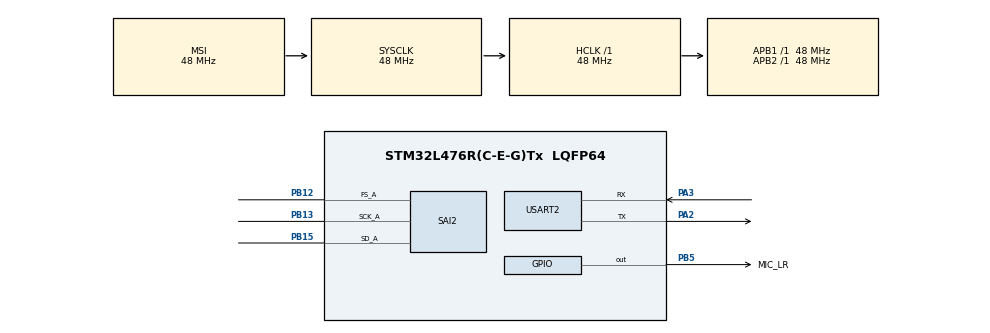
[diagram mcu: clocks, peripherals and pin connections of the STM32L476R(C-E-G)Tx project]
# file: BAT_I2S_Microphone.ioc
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Dma.Request0=SAI2_A
Dma.Request1=USART2_TX
Dma.SAI2_A.0.Direction=DMA_PERIPH_TO_MEMORY
Dma.SAI2_A.0.Instance=DMA1_Channel6
Dma.SAI2_A.0.MemDataAlignment=DMA_MDATAALIGN_WORD
Dma.SAI2_A.0.MemInc=DMA_MINC_ENABLE
Dma.SAI2_A.0.Mode=DMA_NORMAL
Dma.SAI2_A.0.PeriphDataAlignment=DMA_PDATAALIGN_WORD
Dma.SAI2_A.0.PeriphInc=DMA_PINC_DISABLE
Dma.SAI2_A.0.Priority=DMA_PRIORITY_LOW
Dma.USART2_TX.1.Direction=DMA_MEMORY_TO_PERIPH
Dma.USART2_TX.1.Instance=DMA1_Channel7
Dma.USART2_TX.1.MemDataAlignment=DMA_MDATAALIGN_BYTE
Dma.USART2_TX.1.MemInc=DMA_MINC_ENABLE
Dma.USART2_TX.1.Mode=DMA_NORMAL
Dma.USART2_TX.1.PeriphDataAlignment=DMA_PDATAALIGN_BYTE
Dma.USART2_TX.1.PeriphInc=DMA_PINC_DISABLE
Dma.USART2_TX.1.Priority=DMA_PRIORITY_LOW
Mcu.Family=STM32L4
Mcu.Name=STM32L476R(C-E-G)Tx
Mcu.Package=LQFP64
NVIC.DMA1_Channel6_IRQn=true\:0\:0\:false\:false\:true\:false\:true
NVIC.DMA1_Channel7_IRQn=true\:0\:0\:false\:false\:true\:false\:true
NVIC.PriorityGroup=NVIC_PRIORITYGROUP_4
NVIC.SAI2_IRQn=true\:0\:0\:false\:false\:true\:true\:true
NVIC.TIM6_DAC_IRQn=true\:0\:0\:false\:false\:true\:true\:true
NVIC.USART2_IRQn=true\:0\:0\:false\:false\:true\:true\:true
PA13\ (JTMS-SWDIO).Mode=Serial_Wire
PA13\ (JTMS-SWDIO).Signal=SYS_JTMS-SWDIO
PA14\ (JTCK-SWCLK).Mode=Serial_Wire
PA14\ (JTCK-SWCLK).Signal=SYS_JTCK-SWCLK
PA2.Mode=Asynchronous
PA2.Signal=USART2_TX
PA3.Mode=Asynchronous
PA3.Signal=USART2_RX
PB12.Mode=SAI_A_Master
PB12.Signal=SAI2_FS_A
PB13.Mode=SAI_A_Master
PB13.Signal=SAI2_SCK_A
PB15.GPIO_PuPd=GPIO_PULLDOWN
PB15.Mode=SAI_A_Master
PB15.Signal=SAI2_SD_A
PB5.GPIO_Label=MIC_LR
PB5.GPIO_ModeDefaultOutputPP=GPIO_MODE_OUTPUT_PP
PB5.PinState=GPIO_PIN_RESET
PB5.Signal=GPIO_Output
ProjectManager.HeapSize=0x200
ProjectManager.StackSize=0x400
ProjectManager.TargetToolchain=STM32CubeIDE
RCC.ADCFreq_Value=128000000
RCC.AHBFreq_Value=48000000
RCC.APB1Freq_Value=48000000
RCC.APB1TimFreq_Value=48000000
RCC.APB2Freq_Value=48000000
RCC.APB2TimFreq_Value=48000000
RCC.CortexFreq_Value=48000000
RCC.HCLKFreq_Value=48000000
RCC.HSE_VALUE=8000000
RCC.HSI_VALUE=16000000
RCC.LSE_VALUE=32768
RCC.MSIClockRange=RCC_MSIRANGE_11
RCC.MSI_VALUE=48000000
RCC.PLLSAI1N=16
RCC.PLLSourceVirtual=RCC_PLLSOURCE_HSI
RCC.SYSCLKFreq_VALUE=48000000
RCC.USBFreq_Value=128000000
RCC.VCOOutputFreq_Value=128000000
SAI2.AudioFrequency-SAI_A_Master=SAI_AUDIO_FREQUENCY_32K
SAI2.AudioMode-SAI_A_Master=SAI_MODEMASTER_RX
SAI2.BasicDataSize-SAI_A_Master=SAI_PROTOCOL_DATASIZE_24BIT
SAI2.BasicProtocol-SAI_A_Master=SAI_I2S_STANDARD
SAI2.CompandingMode-SAI_A_Master=SAI_NOCOMPANDING
SAI2.ErrorAudioFreq-SAI_A_Master=11.6 %
SAI2.FIFOThreshold-SAI_A_Master=SAI_FIFOTHRESHOLD_FULL
SAI2.InitProtocol-SAI_A_Master=Enable
SAI2.Instance-SAI_A_Master=SAI$Index_Block_A
SAI2.MClockEnable-SAI_A_Master=SAI_MASTERCLOCK_DISABLE
SAI2.NoDivider-SAI_A_Master=SAI_MASTERDIVIDER_ENABLE
SAI2.OutputDrive-SAI_A_Master=SAI_OUTPUTDRIVE_ENABLE
SAI2.RealAudioFreq-SAI_A_Master=35.714 KHz
SAI2.VirtualMode-SAI_A_Master=VM_MASTER
SAI2.VirtualProtocol-SAI_A_BASIC=VM_BASIC_PROTOCOL
TIM6.AutoReloadPreload=TIM_AUTORELOAD_PRELOAD_DISABLE
TIM6.Period=3000
TIM6.Prescaler=16
TIM6.TIM_MasterOutputTrigger=TIM_TRGO_RESET
USART2.VirtualMode-Asynchronous=VM_ASYNC
VP_SAI2_VP_$IpInstance_SAIA_SAI_BASIC.Mode=SAI_A_BASIC
VP_TIM6_VS_ClockSourceINT.Mode=Enable_Timer
board=NUCLEO-L476RG

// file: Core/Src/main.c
/* USER CODE BEGIN Header */
/**
  ******************************************************************************
  * @file           : main.c
  * @brief          : Main program body
  ******************************************************************************
  * @attention
  *
  * <h2><center>&copy; Copyright (c) 2020 STMicroelectronics.
  * All rights reserved.</center></h2>
  *
  * This software component is licensed by ST under BSD 3-Clause license,
  * the "License"; You may not use this file except in compliance with the
  * License. You may obtain a copy of the License at:
  *                        opensource.org/licenses/BSD-3-Clause
  *
  ******************************************************************************
  */
/* USER CODE END Header */

#include "main.h"

SAI_HandleTypeDef hsai_BlockA2;
DMA_HandleTypeDef hdma_sai2_a;

TIM_HandleTypeDef htim6;

UART_HandleTypeDef huart2;
DMA_HandleTypeDef hdma_usart2_tx;

/* USER CODE BEGIN PV */

uint8_t counter;

#define samples_n 100
#define bytes_per_sample 8 //2 channels 32bit each
#define bytes_per_channel bytes_per_sample/2 // 4

uint8_t audio_output_byte_stream[bytes_per_channel*samples_n+1];

uint32_t sampling_index = 0;

uint8_t i2s_input_buffer_valid = 0;
uint8_t i2s_input_buffer[bytes_per_sample*samples_n+bytes_per_channel]; //2 times n samples of 24bit (3*8bit) + 3 bit for last data because 6byte is read each time L+R

/* USER CODE END PV */

void SystemClock_Config(void);
static void MX_GPIO_Init(void);
static void MX_SAI2_Init(void);
static void MX_USART2_UART_Init(void);
static void MX_TIM6_Init(void);
static void MX_DMA_Init(void);

/* USER CODE BEGIN 0 */

void HAL_TIM_PeriodElapsedCallback(TIM_HandleTypeDef *htim)
{
   if (htim == &htim6)
   {
	   //HAL_GPIO_TogglePin(MIC_LR_GPIO_Port, MIC_LR_Pin);
	   HAL_SAI_Receive_IT(&hsai_BlockA2, i2s_input_buffer+(sampling_index*bytes_per_channel), bytes_per_sample);
	   HAL_TIM_Base_Start_IT(&htim6);
   }
}

void HAL_SAI_RxCpltCallback(SAI_HandleTypeDef *hsai){
//	int32_t sample = i2s_input_buffer[0] << 24 |  i2s_input_buffer[1] << 16 |  i2s_input_buffer[2] << 8 | i2s_input_buffer[3];
//	int32_t sample2 = i2s_input_buffer[4] << 24 |  i2s_input_buffer[5] << 16 |  i2s_input_buffer[6] << 8 | i2s_input_buffer[7];
//
//	sample /= 256;
//	sample2 /= 256;
//
//	//sample /= 256;
//	HAL_GPIO_ReadPin(MIC_LR_GPIO_Port, MIC_LR_Pin) == sample;
// useless code, just use to check values' format...

	sampling_index++;

	if(sampling_index==samples_n){
		i2s_input_buffer_valid = 1;
	}else if(sampling_index >=2*samples_n){
		i2s_input_buffer_valid = 2;
		sampling_index = 0;
	}
}

void DMA_I2S_Callback(){

}

void DMA_UART2_Callback(){

}

void transmitBlock(uint8_t offset){
	/*uint32_t sample;
	for(int i = 0; i < samples_n; i++){
		sample = samples[i+offset];
		audio_byte_stream[3*i+1] = sample >> (24 -8);
		audio_byte_stream[3*i+2] = sample >> (16 -8);
		audio_byte_stream[3*i+3] = sample >> (8  -8);
	}
	HAL_UART_Transmit(&huart2, audio_byte_stream, 3*samples_n+1, 100);*/
}

/* USER CODE END 0 */

int main(void)
{

  /* MCU Configuration--------------------------------------------------------*/

  /* Reset of all peripherals, Initializes the Flash interface and the Systick. */
  HAL_Init();

  /* Configure the system clock */
  SystemClock_Config();

  /* Initialize all configured peripherals */
  MX_GPIO_Init();
  MX_SAI2_Init();
  MX_USART2_UART_Init();
  MX_TIM6_Init();
  MX_DMA_Init();
  /* USER CODE BEGIN 2 */

  HAL_DMA_RegisterCallback(&hdma_sai2_a, 1, DMA_I2S_Callback);
  HAL_DMA_RegisterCallback(&hdma_usart2_tx, 2, DMA_UART2_Callback);

  HAL_TIM_Base_Start_IT(&htim6); //Start 1ms sampling timer

  /* USER CODE END 2 */

  /* Infinite loop */
  /* USER CODE BEGIN WHILE */
  while (1)
  {

	  /*
	  if(nSamplesBuffered == 1){
		  nSamplesBuffered=0;
		  transmitBlock(0);
	  }else if(nSamplesBuffered == 2){
		  nSamplesBuffered=0;
		  transmitBlock(100);
	  }else{

	  }
	  HAL_Delay(1);
	  uint32_t store;
	  HAL_SAI_Receive_IT(&hsai_BlockA2, store, 4);
*/

	  if(i2s_input_buffer_valid == 1){
		  i2s_input_buffer_valid = 0;
		  audio_output_byte_stream[0] = 0xFE;
		  for(int i = 0; i < samples_n; i++){
			  //HAL_GPIO_TogglePin(MIC_LR_GPIO_Port, MIC_LR_Pin);
			  //HAL_GPIO_TogglePin(MIC_LR_READ_GPIO_Port, MIC_LR_READ_Pin);
			  audio_output_byte_stream[3*i+1] = i2s_input_buffer[bytes_per_channel*i]; //transmit 3 data bytes MSB
			  audio_output_byte_stream[3*i+2] = i2s_input_buffer[bytes_per_channel*i+1];
			  audio_output_byte_stream[3*i+3] = i2s_input_buffer[bytes_per_channel*i+2]; //LSB
		  }
		  HAL_UART_Transmit_IT(&huart2, audio_output_byte_stream, 3*samples_n+1);
		  //HAL_UART_Transmit_DMA(&huart2, buffer1, 3*samples_n+1);

	  }else if(i2s_input_buffer_valid == 2){
		  i2s_input_buffer_valid = 0;
		  audio_output_byte_stream[0] = 0xFE;
		  uint16_t offset = 3*samples_n;
		  for(int i = 0; i < samples_n; i++){
			  //HAL_GPIO_TogglePin(MIC_LR_GPIO_Port, MIC_LR_Pin);
			  //HAL_GPIO_TogglePin(MIC_LR_READ_GPIO_Port, MIC_LR_READ_Pin);
			  audio_output_byte_stream[3*i+1] = i2s_input_buffer[offset + bytes_per_channel*i]; //transmit 3 data bytes MSB
			  audio_output_byte_stream[3*i+2] = i2s_input_buffer[offset + bytes_per_channel*i+1];
			  audio_output_byte_stream[3*i+3] = i2s_input_buffer[offset + bytes_per_channel*i+2]; //LSB
		  }
		  HAL_UART_Transmit_IT(&huart2, audio_output_byte_stream, 3*samples_n+1);
	  }

	  //HAL_UART_Transmit(&huart2, '\n', 1, 10);
	  //HAL_GPIO_WritePin(MIC_LR_GPIO_Port, MIC_LR_Pin, 0);
	  //HAL_GPIO_TogglePin(MIC_LR_GPIO_Port, MIC_LR_Pin);

	  /*
	  counter++;
	  if(counter > 255){
		  counter = 0;
	  }

	  data[0] = 0xFE; //data frame leading 16bit

	  for(int i = 1; i < 301; i+=3){
		  counter++;
		  data[i]   = counter; //LSB
		  data[i+1] = counter >> 8;
		  data[i+2] = counter >> 16;
	  }

	  HAL_UART_Transmit(&huart2, data, 301, 100);
	  HAL_Delay(100);

*/

    /* USER CODE END WHILE */

  }
}

void SystemClock_Config(void)
{
  RCC_OscInitTypeDef RCC_OscInitStruct = {0};
  RCC_ClkInitTypeDef RCC_ClkInitStruct = {0};
  RCC_PeriphCLKInitTypeDef PeriphClkInit = {0};

  /** Initializes the CPU, AHB and APB busses clocks
  */
  RCC_OscInitStruct.OscillatorType = RCC_OSCILLATORTYPE_HSI|RCC_OSCILLATORTYPE_MSI;
  RCC_OscInitStruct.HSIState = RCC_HSI_ON;
  RCC_OscInitStruct.HSICalibrationValue = RCC_HSICALIBRATION_DEFAULT;
  RCC_OscInitStruct.MSIState = RCC_MSI_ON;
  RCC_OscInitStruct.MSICalibrationValue = 0;
  RCC_OscInitStruct.MSIClockRange = RCC_MSIRANGE_11;
  RCC_OscInitStruct.PLL.PLLState = RCC_PLL_NONE;
  if (HAL_RCC_OscConfig(&RCC_OscInitStruct) != HAL_OK)
  {
    Error_Handler();
  }
  /** Initializes the CPU, AHB and APB busses clocks
  */
  RCC_ClkInitStruct.ClockType = RCC_CLOCKTYPE_HCLK|RCC_CLOCKTYPE_SYSCLK
                              |RCC_CLOCKTYPE_PCLK1|RCC_CLOCKTYPE_PCLK2;
  RCC_ClkInitStruct.SYSCLKSource = RCC_SYSCLKSOURCE_MSI;
  RCC_ClkInitStruct.AHBCLKDivider = RCC_SYSCLK_DIV1;
  RCC_ClkInitStruct.APB1CLKDivider = RCC_HCLK_DIV1;
  RCC_ClkInitStruct.APB2CLKDivider = RCC_HCLK_DIV1;

  if (HAL_RCC_ClockConfig(&RCC_ClkInitStruct, FLASH_LATENCY_2) != HAL_OK)
  {
    Error_Handler();
  }
  PeriphClkInit.PeriphClockSelection = RCC_PERIPHCLK_USART2|RCC_PERIPHCLK_SAI2;
  PeriphClkInit.Usart2ClockSelection = RCC_USART2CLKSOURCE_PCLK1;
  PeriphClkInit.Sai2ClockSelection = RCC_SAI2CLKSOURCE_PLLSAI1;
  PeriphClkInit.PLLSAI1.PLLSAI1Source = RCC_PLLSOURCE_HSI;
  PeriphClkInit.PLLSAI1.PLLSAI1M = 1;
  PeriphClkInit.PLLSAI1.PLLSAI1N = 16;
  PeriphClkInit.PLLSAI1.PLLSAI1P = RCC_PLLP_DIV7;
  PeriphClkInit.PLLSAI1.PLLSAI1Q = RCC_PLLQ_DIV2;
  PeriphClkInit.PLLSAI1.PLLSAI1R = RCC_PLLR_DIV2;
  PeriphClkInit.PLLSAI1.PLLSAI1ClockOut = RCC_PLLSAI1_SAI1CLK;
  if (HAL_RCCEx_PeriphCLKConfig(&PeriphClkInit) != HAL_OK)
  {
    Error_Handler();
  }
  /** Configure the main internal regulator output voltage
  */
  if (HAL_PWREx_ControlVoltageScaling(PWR_REGULATOR_VOLTAGE_SCALE1) != HAL_OK)
  {
    Error_Handler();
  }
}

static void MX_SAI2_Init(void)
{

  hsai_BlockA2.Instance = SAI2_Block_A;
  hsai_BlockA2.Init.AudioMode = SAI_MODEMASTER_RX;
  hsai_BlockA2.Init.Synchro = SAI_ASYNCHRONOUS;
  hsai_BlockA2.Init.OutputDrive = SAI_OUTPUTDRIVE_ENABLE;
  hsai_BlockA2.Init.NoDivider = SAI_MASTERDIVIDER_ENABLE;
  hsai_BlockA2.Init.FIFOThreshold = SAI_FIFOTHRESHOLD_FULL;
  hsai_BlockA2.Init.AudioFrequency = SAI_AUDIO_FREQUENCY_32K;
  hsai_BlockA2.Init.SynchroExt = SAI_SYNCEXT_DISABLE;
  hsai_BlockA2.Init.MonoStereoMode = SAI_STEREOMODE;
  hsai_BlockA2.Init.CompandingMode = SAI_NOCOMPANDING;
  if (HAL_SAI_InitProtocol(&hsai_BlockA2, SAI_I2S_STANDARD, SAI_PROTOCOL_DATASIZE_24BIT, 2) != HAL_OK)
  {
    Error_Handler();
  }

}

static void MX_TIM6_Init(void)
{

  TIM_MasterConfigTypeDef sMasterConfig = {0};

  htim6.Instance = TIM6;
  htim6.Init.Prescaler = 16;
  htim6.Init.CounterMode = TIM_COUNTERMODE_UP;
  htim6.Init.Period = 3000;
  htim6.Init.AutoReloadPreload = TIM_AUTORELOAD_PRELOAD_DISABLE;
  if (HAL_TIM_Base_Init(&htim6) != HAL_OK)
  {
    Error_Handler();
  }
  sMasterConfig.MasterOutputTrigger = TIM_TRGO_RESET;
  sMasterConfig.MasterSlaveMode = TIM_MASTERSLAVEMODE_DISABLE;
  if (HAL_TIMEx_MasterConfigSynchronization(&htim6, &sMasterConfig) != HAL_OK)
  {
    Error_Handler();
  }

}

static void MX_USART2_UART_Init(void)
{

  huart2.Instance = USART2;
  huart2.Init.BaudRate = 115200;
  huart2.Init.WordLength = UART_WORDLENGTH_8B;
  huart2.Init.StopBits = UART_STOPBITS_1;
  huart2.Init.Parity = UART_PARITY_NONE;
  huart2.Init.Mode = UART_MODE_TX_RX;
  huart2.Init.HwFlowCtl = UART_HWCONTROL_NONE;
  huart2.Init.OverSampling = UART_OVERSAMPLING_16;
  huart2.Init.OneBitSampling = UART_ONE_BIT_SAMPLE_DISABLE;
  huart2.AdvancedInit.AdvFeatureInit = UART_ADVFEATURE_NO_INIT;
  if (HAL_UART_Init(&huart2) != HAL_OK)
  {
    Error_Handler();
  }

}

static void MX_DMA_Init(void)
{

  /* DMA controller clock enable */
  __HAL_RCC_DMA1_CLK_ENABLE();

  /* DMA interrupt init */
  /* DMA1_Channel6_IRQn interrupt configuration */
  HAL_NVIC_SetPriority(DMA1_Channel6_IRQn, 0, 0);
  HAL_NVIC_EnableIRQ(DMA1_Channel6_IRQn);
  /* DMA1_Channel7_IRQn interrupt configuration */
  HAL_NVIC_SetPriority(DMA1_Channel7_IRQn, 0, 0);
  HAL_NVIC_EnableIRQ(DMA1_Channel7_IRQn);

}

static void MX_GPIO_Init(void)
{
  GPIO_InitTypeDef GPIO_InitStruct = {0};

  /* GPIO Ports Clock Enable */
  __HAL_RCC_GPIOA_CLK_ENABLE();
  __HAL_RCC_GPIOB_CLK_ENABLE();

  /*Configure GPIO pin Output Level */
  HAL_GPIO_WritePin(MIC_LR_GPIO_Port, MIC_LR_Pin, GPIO_PIN_RESET);

  /*Configure GPIO pin : MIC_LR_Pin */
  GPIO_InitStruct.Pin = MIC_LR_Pin;
  GPIO_InitStruct.Mode = GPIO_MODE_OUTPUT_PP;
  GPIO_InitStruct.Pull = GPIO_NOPULL;
  GPIO_InitStruct.Speed = GPIO_SPEED_FREQ_LOW;
  HAL_GPIO_Init(MIC_LR_GPIO_Port, &GPIO_InitStruct);

}

void Error_Handler(void)
{
}

/************************ (C) COPYRIGHT STMicroelectronics *****END OF FILE****/
